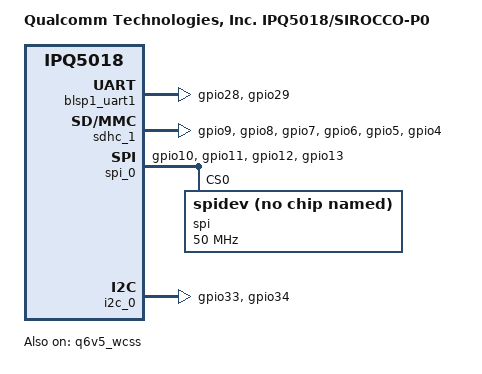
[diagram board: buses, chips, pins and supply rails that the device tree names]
/* Copyright (c) 2018-2021, The Linux Foundation. All rights reserved.
 *
 * Permission to use, copy, modify, and/or distribute this software for any
 * purpose with or without fee is hereby granted, provided that the above
 * copyright notice and this permission notice appear in all copies.
 *
 * THE SOFTWARE IS PROVIDED "AS IS" AND THE AUTHOR DISCLAIMS ALL WARRANTIES
 * WITH REGARD TO THIS SOFTWARE INCLUDING ALL IMPLIED WARRANTIES OF
 * MERCHANTABILITY AND FITNESS. IN NO EVENT SHALL THE AUTHOR BE LIABLE FOR
 * ANY SPECIAL, DIRECT, INDIRECT, OR CONSEQUENTIAL DAMAGES OR ANY DAMAGES
 * WHATSOEVER RESULTING FROM LOSS OF USE, DATA OR PROFITS, WHETHER IN AN
 * ACTION OF CONTRACT, NEGLIGENCE OR OTHER TORTIOUS ACTION, ARISING OUT OF
 * OR IN CONNECTION WITH THE USE OR PERFORMANCE OF THIS SOFTWARE.
 */

/dts-v1/;

#include "ipq5018.dtsi"

/ {
	model = "Qualcomm Technologies, Inc. IPQ5018/SIROCCO-P0";
	compatible = "qcom,sirocco-p0", "qcom,ipq5018";

	aliases {
		serial0 = &blsp1_uart1;
	};

	chosen {
		stdout-path = "serial0:115200n8";
	};

	reserved-memory {
		q6_mem_regions: q6_mem_regions@4B000000 {
			no-map;
			reg = <0x0 0x4B000000 0x0 0x5400000>;
		};

		q6_etr_region: q6_etr_dump@4D300000 {
			no-map;
			reg = <0x0 0x4D300000 0x0 0x100000>;
		};

		q6_caldb_region: q6_caldb_region@4D400000 {
			no-map;
			reg = <0x0 0x4D400000 0x0 0x200000>;
		};
	};
};

&blsp1_uart1 {
	pinctrl-0 = <&serial_1_pins>;
	pinctrl-names = "default";
	status = "ok";
};

&sdhc_1 {
	pinctrl-0 = <&sdc_pins>;
	pinctrl-names = "default";
	status = "ok";
};

&tlmm {
	serial_1_pins: serial1-pinmux {
		pins = "gpio28", "gpio29";
		function = "blsp0_uart1";
		drive-strength = <8>;
		bias-pull-down;
	};

	sdc_pins: sdc_pins {
		sdc_clk {
			pins = "gpio9";
			function = "sdc1_clk";
			drive-strength = <8>;
			bias-disable;
		};
		sdc_cmd {
			pins = "gpio8";
			function = "sdc1_cmd";
			drive-strength = <8>;
			bias-pull-up;
		};
		sdc_data0 {
			pins = "gpio7";
			function = "sdc10";
			drive-strength = <8>;
			bias-disable;
		};
		sdc_data1 {
			pins = "gpio6";
			function = "sdc11";
			drive-strength = <8>;
			bias-disable;
		};
		sdc_data2 {
			pins = "gpio5";
			function = "sdc12";
			drive-strength = <8>;
			bias-disable;
		};
		sdc_data3 {
			pins = "gpio4";
			function = "sdc13";
			drive-strength = <8>;
			bias-disable;
		};
	};

	blsp0_spi_pins: blsp0_spi_pins {
		mux {
			pins = "gpio10", "gpio11", "gpio12", "gpio13";
			function = "blsp0_spi";
			drive-strength = <2>;
			bias-disable;
		};
	};

	i2c_pins: i2c_pins {
		i2c_scl {
			pins = "gpio33";
			function = "blsp2_i2c0";
			drive-strength = <8>;
			bias-disable;
		};

		i2c_sda {
			pins = "gpio34";
			function = "blsp2_i2c0";
			drive-strength = <8>;
			bias-disable;
		};
	};
};

&q6v5_wcss {
	compatible = "qcom,ipq5018-q6-mpd";
	#address-cells = <1>;
	#size-cells = <1>;
	ranges;
	firmware = "IPQ5018/q6_fw.mdt";
	reg = <0x0cd00000 0x4040>,
		<0x1938000 0x8>,
		<0x193d204 0x4>;
	reg-names = "qdsp6",
			"tcsr-msip",
			"tcsr-q6";
	resets = <&gcc GCC_WCSSAON_RESET>,
			<&gcc GCC_WCSS_Q6_BCR>;

	reset-names = "wcss_aon_reset",
			"wcss_q6_reset";

	clocks = <&gcc GCC_Q6_AXIS_CLK>,
		<&gcc GCC_WCSS_ECAHB_CLK>,
		<&gcc GCC_Q6_AXIM_CLK>,
		<&gcc GCC_Q6_AXIM2_CLK>,
		<&gcc GCC_Q6_AHB_CLK>,
		<&gcc GCC_Q6_AHB_S_CLK>,
		<&gcc GCC_WCSS_AXI_S_CLK>;
	clock-names = "gcc_q6_axis_clk",
		"gcc_wcss_ecahb_clk",
		"gcc_q6_axim_clk",
		"gcc_q6_axim2_clk",
		"gcc_q6_ahb_clk",
		"gcc_q6_ahb_s_clk",
		"gcc_wcss_axi_s_clk";

	memory-region = <&q6_mem_regions>, <&q6_etr_region>, <&q6_caldb_region>;

	qcom,rproc = <&q6v5_wcss>;
	status = "ok";
	q6_wcss_pd1 {
		compatible = "qcom,ipq5018-wcss-ahb-mpd";
		reg = <0x4ab000 0x20>;
		reg-names = "rmb";
		firmware = "IPQ5018/q6_fw.mdt";
		m3_firmware = "IPQ5018/m3_fw.mdt";
		interrupts-extended = <&wcss_smp2p_in 8 0>,
					<&wcss_smp2p_in 9 0>,
					<&wcss_smp2p_in 12 0>,
					<&wcss_smp2p_in 11 0>;
		interrupt-names = "fatal",
					"ready",
					"spawn-ack",
					"stop-ack";

		resets = <&gcc GCC_WCSSAON_RESET>,
				<&gcc GCC_WCSS_BCR>,
				<&gcc GCC_CE_BCR>;
		reset-names = "wcss_aon_reset",
				"wcss_reset",
				"ce_reset";

		clocks = <&gcc GCC_WCSS_AHB_S_CLK>,
				<&gcc GCC_WCSS_ACMT_CLK>,
				<&gcc GCC_WCSS_AXI_M_CLK>;
		clock-names = "gcc_wcss_ahb_s_clk",
					"gcc_wcss_acmt_clk",
					"gcc_wcss_axi_m_clk";

		qcom,halt-regs = <&tcsr_q6_block 0xa000 0xd000 0x0>;

		qcom,smem-states = <&wcss_smp2p_out 8>,
					<&wcss_smp2p_out 9>,
					<&wcss_smp2p_out 10>;
		qcom,smem-state-names = "shutdown",
					"stop",
					"spawn";
	};

	q6_wcss_pd2 {
		compatible = "qcom,ipq5018-wcss-pcie-mpd";
		firmware = "IPQ5018/q6_fw.mdt";
		m3_firmware = "qcn6122/m3_fw.mdt";
		interrupts-extended = <&wcss_smp2p_in 16 0>,
					<&wcss_smp2p_in 17 0>,
					<&wcss_smp2p_in 20 0>,
					<&wcss_smp2p_in 19 0>;
		interrupt-names = "fatal",
					"ready",
					"spawn-ack",
					"stop-ack";

		qcom,smem-states = <&wcss_smp2p_out 16>,
					<&wcss_smp2p_out 17>,
					<&wcss_smp2p_out 18>;
		qcom,smem-state-names = "shutdown",
					"stop",
					"spawn";
	};

	q6_wcss_pd3 {
		compatible = "qcom,ipq5018-wcss-pcie-mpd";
		firmware = "IPQ5018/q6_fw.mdt";
		interrupts-extended = <&wcss_smp2p_in 24 0>,
					<&wcss_smp2p_in 25 0>,
					<&wcss_smp2p_in 28 0>,
					<&wcss_smp2p_in 27 0>;
		interrupt-names = "fatal",
					"ready",
					"spawn-ack",
					"stop-ack";

		qcom,smem-states = <&wcss_smp2p_out 24>,
					<&wcss_smp2p_out 25>,
					<&wcss_smp2p_out 26>;
		qcom,smem-state-names = "shutdown",
					"stop",
					"spawn";
	};
};

&spi_0 {
	pinctrl-0 = <&blsp0_spi_pins>;
	pinctrl-names = "default";
	cs-select = <0>;
	status = "ok";

	spi@0 {
		compatible = "qti,spidev";
		reg = <0>;
		spi-max-frequency = <50000000>;
	};
};

&i2c_0 {
	pinctrl-0 = <&i2c_pins>;
	pinctrl-names = "default";
	status = "ok";
};

&usb3 {
       device-power-gpio = <&tlmm 24 1>;
};

&dwc_0 {
	/delete-property/ #phy-cells;
	/delete-property/ phys;
	/delete-property/ phy-names;
};
